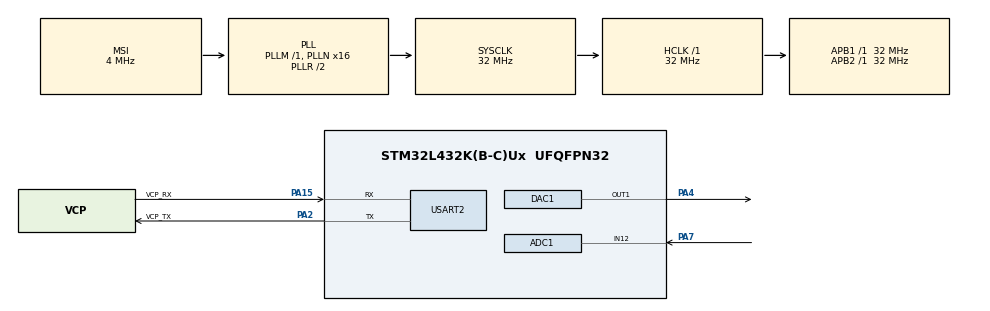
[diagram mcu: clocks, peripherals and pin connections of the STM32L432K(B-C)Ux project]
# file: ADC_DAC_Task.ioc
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ADC1.Channel-4\#ChannelRegularConversion=ADC_CHANNEL_12
ADC1.ExternalTrigConv=ADC_EXTERNALTRIG_T6_TRGO
ADC1.ExternalTrigConvEdge=ADC_EXTERNALTRIGCONVEDGE_RISING
ADC1.NbrOfConversion=1
ADC1.NbrOfConversionFlag=1
ADC1.OffsetNumber-4\#ChannelRegularConversion=ADC_OFFSET_NONE
ADC1.Rank-4\#ChannelRegularConversion=1
ADC1.SamplingTime-4\#ChannelRegularConversion=ADC_SAMPLETIME_2CYCLES_5
ADC1.master=1
Mcu.Family=STM32L4
Mcu.Name=STM32L432K(B-C)Ux
Mcu.Package=UFQFPN32
NVIC.ADC1_IRQn=true\:0\:0\:false\:false\:true\:true\:true
NVIC.PriorityGroup=NVIC_PRIORITYGROUP_4
PA15\ (JTDI).GPIO_Label=VCP_RX
PA15\ (JTDI).Mode=Asynchronous
PA15\ (JTDI).Signal=USART2_RX
PA2.GPIO_Label=VCP_TX
PA2.Mode=Asynchronous
PA2.Signal=USART2_TX
PA4.Signal=COMP_DAC11_group
PA7.Signal=ADCx_IN12
ProjectManager.HeapSize=0x200
ProjectManager.StackSize=0x400
ProjectManager.TargetToolchain=STM32CubeIDE
RCC.ADCFreq_Value=32000000
RCC.AHBFreq_Value=32000000
RCC.APB1Freq_Value=32000000
RCC.APB1TimFreq_Value=32000000
RCC.APB2Freq_Value=32000000
RCC.APB2TimFreq_Value=32000000
RCC.CortexFreq_Value=32000000
RCC.HCLKFreq_Value=32000000
RCC.HSE_VALUE=8000000
RCC.HSI16_VALUE=16000000
RCC.HSI48_VALUE=48000000
RCC.HSI_VALUE=16000000
RCC.LSE_VALUE=32768
RCC.MSI_VALUE=4000000
RCC.PLLMUL=RCC_PLLMUL_4
RCC.PLLN=16
RCC.PLLSAI1N=16
RCC.SYSCLKFreq_VALUE=32000000
RCC.SYSCLKSource=RCC_SYSCLKSOURCE_PLLCLK
RCC.USBFreq_Value=32000000
RCC.VCOOutputFreq_Value=64000000
SH.ADCx_IN12.0=ADC1_IN12,IN12-Single-Ended
SH.COMP_DAC11_group.0=DAC1_OUT1,DAC_OUT1
TIM6.AutoReloadPreload=TIM_AUTORELOAD_PRELOAD_ENABLE
TIM6.Period=20-1
TIM6.Prescaler=32000-1
TIM6.TIM_MasterOutputTrigger=TIM_TRGO_UPDATE
USART2.VirtualMode-Asynchronous=VM_ASYNC
VP_TIM6_VS_ClockSourceINT.Mode=Enable_Timer
board=NUCLEO-L432KC

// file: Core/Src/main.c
/* USER CODE BEGIN Header */
/**
  ******************************************************************************
  * @file           : main.c
  * @brief          : Main program body
  ******************************************************************************
  * @attention
  *
  * <h2><center>&copy; Copyright (c) 2021 STMicroelectronics.
  * All rights reserved.</center></h2>
  *
  * This software component is licensed by ST under BSD 3-Clause license,
  * the "License"; You may not use this file except in compliance with the
  * License. You may obtain a copy of the License at:
  *                        opensource.org/licenses/BSD-3-Clause
  *
  ******************************************************************************
  */
/* USER CODE END Header */
#include "main.h"

ADC_HandleTypeDef hadc1;

DAC_HandleTypeDef hdac1;

TIM_HandleTypeDef htim6;

UART_HandleTypeDef huart2;

void SystemClock_Config(void);
static void MX_GPIO_Init(void);
static void MX_USART2_UART_Init(void);
static void MX_ADC1_Init(void);
static void MX_TIM6_Init(void);
static void MX_DAC1_Init(void);

int main(void)
{

  /* MCU Configuration--------------------------------------------------------*/

  /* Reset of all peripherals, Initializes the Flash interface and the Systick. */
  HAL_Init();

  /* Configure the system clock */
  SystemClock_Config();

  /* Initialize all configured peripherals */
  MX_GPIO_Init();
  MX_USART2_UART_Init();
  MX_ADC1_Init();
  MX_TIM6_Init();
  MX_DAC1_Init();
  /* USER CODE BEGIN 2 */

  // Start timer 6
  if(HAL_TIM_Base_Start(&htim6) != HAL_OK) {
    Error_Handler();
  }

  // Start ADC with interrupt
  if(HAL_ADC_Start_IT(&hadc1) != HAL_OK) {
    Error_Handler();
  }

  // Start DAC (used to set the LED brightness)
  if(HAL_DAC_Start(&hdac1, DAC_CHANNEL_1) != HAL_OK) {
    Error_Handler();
  }

  /* USER CODE END 2 */

  /* Infinite loop */
  while (1)
  {

  }
}

void SystemClock_Config(void)
{
  RCC_OscInitTypeDef RCC_OscInitStruct = {0};
  RCC_ClkInitTypeDef RCC_ClkInitStruct = {0};

  /** Configure the main internal regulator output voltage
  */
  if (HAL_PWREx_ControlVoltageScaling(PWR_REGULATOR_VOLTAGE_SCALE1) != HAL_OK)
  {
    Error_Handler();
  }
  /** Initializes the RCC Oscillators according to the specified parameters
  * in the RCC_OscInitTypeDef structure.
  */
  RCC_OscInitStruct.OscillatorType = RCC_OSCILLATORTYPE_MSI;
  RCC_OscInitStruct.MSIState = RCC_MSI_ON;
  RCC_OscInitStruct.MSICalibrationValue = 0;
  RCC_OscInitStruct.MSIClockRange = RCC_MSIRANGE_6;
  RCC_OscInitStruct.PLL.PLLState = RCC_PLL_ON;
  RCC_OscInitStruct.PLL.PLLSource = RCC_PLLSOURCE_MSI;
  RCC_OscInitStruct.PLL.PLLM = 1;
  RCC_OscInitStruct.PLL.PLLN = 16;
  RCC_OscInitStruct.PLL.PLLP = RCC_PLLP_DIV7;
  RCC_OscInitStruct.PLL.PLLQ = RCC_PLLQ_DIV2;
  RCC_OscInitStruct.PLL.PLLR = RCC_PLLR_DIV2;
  if (HAL_RCC_OscConfig(&RCC_OscInitStruct) != HAL_OK)
  {
    Error_Handler();
  }
  /** Initializes the CPU, AHB and APB buses clocks
  */
  RCC_ClkInitStruct.ClockType = RCC_CLOCKTYPE_HCLK|RCC_CLOCKTYPE_SYSCLK
                              |RCC_CLOCKTYPE_PCLK1|RCC_CLOCKTYPE_PCLK2;
  RCC_ClkInitStruct.SYSCLKSource = RCC_SYSCLKSOURCE_PLLCLK;
  RCC_ClkInitStruct.AHBCLKDivider = RCC_SYSCLK_DIV1;
  RCC_ClkInitStruct.APB1CLKDivider = RCC_HCLK_DIV1;
  RCC_ClkInitStruct.APB2CLKDivider = RCC_HCLK_DIV1;

  if (HAL_RCC_ClockConfig(&RCC_ClkInitStruct, FLASH_LATENCY_1) != HAL_OK)
  {
    Error_Handler();
  }
}

static void MX_ADC1_Init(void)
{

  ADC_ChannelConfTypeDef sConfig = {0};

  /** Common config
  */
  hadc1.Instance = ADC1;
  hadc1.Init.ClockPrescaler = ADC_CLOCK_ASYNC_DIV1;
  hadc1.Init.Resolution = ADC_RESOLUTION_12B;
  hadc1.Init.DataAlign = ADC_DATAALIGN_RIGHT;
  hadc1.Init.ScanConvMode = ADC_SCAN_DISABLE;
  hadc1.Init.EOCSelection = ADC_EOC_SINGLE_CONV;
  hadc1.Init.LowPowerAutoWait = DISABLE;
  hadc1.Init.ContinuousConvMode = DISABLE;
  hadc1.Init.NbrOfConversion = 1;
  hadc1.Init.DiscontinuousConvMode = DISABLE;
  hadc1.Init.ExternalTrigConv = ADC_EXTERNALTRIG_T6_TRGO;
  hadc1.Init.ExternalTrigConvEdge = ADC_EXTERNALTRIGCONVEDGE_RISING;
  hadc1.Init.DMAContinuousRequests = DISABLE;
  hadc1.Init.Overrun = ADC_OVR_DATA_PRESERVED;
  hadc1.Init.OversamplingMode = DISABLE;
  if (HAL_ADC_Init(&hadc1) != HAL_OK)
  {
    Error_Handler();
  }
  /** Configure Regular Channel
  */
  sConfig.Channel = ADC_CHANNEL_12;
  sConfig.Rank = ADC_REGULAR_RANK_1;
  sConfig.SamplingTime = ADC_SAMPLETIME_2CYCLES_5;
  sConfig.SingleDiff = ADC_SINGLE_ENDED;
  sConfig.OffsetNumber = ADC_OFFSET_NONE;
  sConfig.Offset = 0;
  if (HAL_ADC_ConfigChannel(&hadc1, &sConfig) != HAL_OK)
  {
    Error_Handler();
  }

}

static void MX_DAC1_Init(void)
{

  DAC_ChannelConfTypeDef sConfig = {0};

  /** DAC Initialization
  */
  hdac1.Instance = DAC1;
  if (HAL_DAC_Init(&hdac1) != HAL_OK)
  {
    Error_Handler();
  }
  /** DAC channel OUT1 config
  */
  sConfig.DAC_SampleAndHold = DAC_SAMPLEANDHOLD_DISABLE;
  sConfig.DAC_Trigger = DAC_TRIGGER_NONE;
  sConfig.DAC_OutputBuffer = DAC_OUTPUTBUFFER_ENABLE;
  sConfig.DAC_ConnectOnChipPeripheral = DAC_CHIPCONNECT_DISABLE;
  sConfig.DAC_UserTrimming = DAC_TRIMMING_FACTORY;
  if (HAL_DAC_ConfigChannel(&hdac1, &sConfig, DAC_CHANNEL_1) != HAL_OK)
  {
    Error_Handler();
  }

}

static void MX_TIM6_Init(void)
{

  TIM_MasterConfigTypeDef sMasterConfig = {0};

  htim6.Instance = TIM6;
  htim6.Init.Prescaler = 32000-1;
  htim6.Init.CounterMode = TIM_COUNTERMODE_UP;
  htim6.Init.Period = 20-1;
  htim6.Init.AutoReloadPreload = TIM_AUTORELOAD_PRELOAD_ENABLE;
  if (HAL_TIM_Base_Init(&htim6) != HAL_OK)
  {
    Error_Handler();
  }
  sMasterConfig.MasterOutputTrigger = TIM_TRGO_UPDATE;
  sMasterConfig.MasterSlaveMode = TIM_MASTERSLAVEMODE_DISABLE;
  if (HAL_TIMEx_MasterConfigSynchronization(&htim6, &sMasterConfig) != HAL_OK)
  {
    Error_Handler();
  }

}

static void MX_USART2_UART_Init(void)
{

  huart2.Instance = USART2;
  huart2.Init.BaudRate = 115200;
  huart2.Init.WordLength = UART_WORDLENGTH_8B;
  huart2.Init.StopBits = UART_STOPBITS_1;
  huart2.Init.Parity = UART_PARITY_NONE;
  huart2.Init.Mode = UART_MODE_TX_RX;
  huart2.Init.HwFlowCtl = UART_HWCONTROL_NONE;
  huart2.Init.OverSampling = UART_OVERSAMPLING_16;
  huart2.Init.OneBitSampling = UART_ONE_BIT_SAMPLE_DISABLE;
  huart2.AdvancedInit.AdvFeatureInit = UART_ADVFEATURE_NO_INIT;
  if (HAL_UART_Init(&huart2) != HAL_OK)
  {
    Error_Handler();
  }

}

static void MX_GPIO_Init(void)
{

  /* GPIO Ports Clock Enable */
  __HAL_RCC_GPIOA_CLK_ENABLE();

}

/* USER CODE BEGIN 4 */

/**
  * @brief  Interrupt routine which gets fired by the ADC.
  *         For our task the ADC itself gets triggered by TIM6, which "fires" every 20ms.
  * @param  htim: Information about the adc event.
  * @retval None
  */
void HAL_ADC_ConvCpltCallback(ADC_HandleTypeDef *hadc) {
  /**
   * @Herr Kobelrausch:
   *
   * Ich habe herausgefunden, dass bei der LED ab dem Wert 800 und darunter die LED komplett leuchtet.
   * Ich habe das auch in der Nacht bei völliger Dunkelheit ausprobiert und es macht für mich eigentlich keinen
   * Unterschied ob die LED auf 800 oder auf 0 gesetzt wird. Des weiteren hat es für ich den Anschein, dass die LED
   * ab 1400 und darüber komplett abgedreht ist. Deshalb habe ich nun eben die LED mit Werten von 800 - 1400 angesteuert,
   * obwohl das Potentiometer Werte von 0-4028 zurückgibt. (Ich weiß aber nicht sicher ob bei allen unseren Mikrocontrollern
   * dieses Verhalten gleich ist, ich nehme aber an ja). Dazu verwende ich dann lineare Interpolation. Da ich mich mit dem
   * Thema zum ersten Mal befasse, hat mir natürlich Google dabei ein wenig geholfen ;)
   * (Z.b. https://forum.arduino.cc/t/array-und-lineare-interpolation/352611)
   * Außerdem möchte ich anmerken, dass wenn man das Potentiometer von ganz rechts (also 0 bzw. max. Helligkeit)
   * nach links dreht, es kurz dauert bis überhaupt eine Änderung des Wertes (also von 0 auf 1 oder höher) registriert wird.
   * Dies liegt am Potentiometer und kann durch mich, also Programmierung nicht beeinflusst werden. D.h. es dauert kurz bis
   * mein Algorithmus überhaupt greift. Mit einem genaueren Potentiometer könnte ich somit noch schöner bzw. genauer dimmen.
   *
   * Weiters habe ich diese obigen Werte mittels "debugging" auf der console ausgeben herausgefunden,
   * mittels sprintf und UART. Ich habe diesen debug code unten auskommentiert, damit Sie das nachvollziehen können.
   *
   * Als Bonus habe ich unten eine zweite Implementierungsmöglichkeit auskommentiert ;)
   */

  int mapping[3][2] = { {   0  ,     0 },   // First, as base, we need to define zero, for the lowest value that can exist and so we can use mapping[i-1] in the calculation below
                        {   0  ,   800 },   // Map the potentiometer value 0 to the LED value 800 (because LED 0-800 is max. brightness)
                        // LED is dimming now from 800 - 1400. We could add more array entries to our desires, if we want to change
                        // at which steps dimming is happening (e.g. more aggressive dimming when turning potentiometer from max right to left, etc.)
                        { 4028 ,  1400 } }; // Map highest (measured) potentiometer value 4028 to 1400 LED value (because LED 1400+ is "off")

  uint32_t adc_in = HAL_ADC_GetValue(&hadc1); // Read the value from the potentiometer: 0-4028
  uint32_t dac_out;                           // The value we send to the LED: 800-1400 (800 = full brightness, 1400 = "off")

  uint8_t i = 1; // We can start with 1 not 0, see comment above for array entry { 0, 0 }
  while (i < 3 && adc_in >= mapping[i][0]){ i++; } // Search for matching entry in mapping array
  // Calculate DAC output for LED with formula for linear interpolation:
  dac_out = (((mapping[i][1] - mapping[i-1][1]) * ( adc_in - mapping[i-1][0] )) / (mapping[i][0] - mapping[i-1][0] )) + mapping[i-1][1];

  if(HAL_DAC_SetValue(&hdac1, DAC_CHANNEL_1, DAC_ALIGN_12B_R, dac_out) != HAL_OK) {
    Error_Handler();
  }

//  // Used to debug the potentiometer values on the console:
//  char uart_buf[100];
//  int uart_buf_len;
//  uart_buf_len = sprintf(uart_buf, "ADC in: %d DAC out: %d\n", adc_in, dac_out);
//  HAL_UART_Transmit(&huart2, (uint8_t *)uart_buf, uart_buf_len, 100);

  /**
   * @Herr Kobelrausch:
   *
   * Ich hätte hier auch noch eine alternative Implementierung, jedoch dimmt diese nicht so schön.
   * Dazu rechne ich einfach das Verhältnis vom maximal Werte des Potentiometer und dem max. Wert des LED aus.
   * Nun dividiere ich den Potentiometer Eingangswert einfach durch dieses berechnet Verhältnis, somit leuchtet
   * das LED quasi (fast) immer in irgendeiner Helligkeit, es kommt somit nie in den Bereich 1400+, in welchem es ständig "off" wäre,
   * so dass beim drehen des Potentiometers von links nach rechts lange keine LED leuchten würde. Und das sollten wir ja
   * laut Ihrer Aussage bzgl. der Angabe verhindern.
   */
//  float potentiometer_max = 4028; // highest value measured
//  float led_max = 1400;
//
//  uint32_t adc_in = HAL_ADC_GetValue(&hadc1);
//  uint32_t dac_out = adc_in / (potentiometer_max / led_max); // <-- Calculation for dimming, makes sure we never reach the LED "off" range 1400+
//
//  if(HAL_DAC_SetValue(&hdac1, DAC_CHANNEL_1, DAC_ALIGN_12B_R, dac_out) != HAL_OK) {
//    Error_Handler();
//  }
}

/* USER CODE END 4 */

void Error_Handler(void)
{
  __disable_irq();
  while (1)
  {
  }
}

/************************ (C) COPYRIGHT STMicroelectronics *****END OF FILE****/
